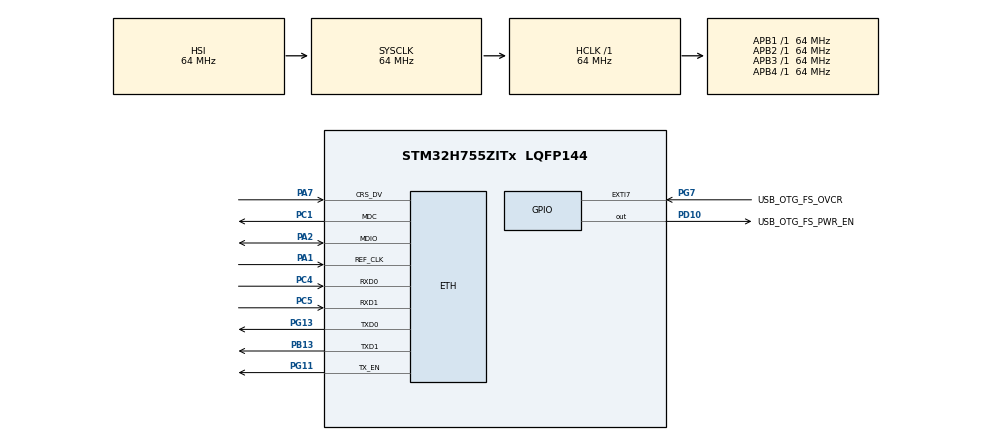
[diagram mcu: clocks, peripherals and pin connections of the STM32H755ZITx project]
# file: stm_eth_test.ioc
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CortexM4.IPs=FATFS_M4\:I,FREERTOS_M4\:I,IWDG2\:I,RCC,WWDG2\:I,DMA,BDMA,MDMA,NVIC2\:I,USART3,DEBUG,PDM2PCM_M4\:I,PWR,RESMGR_UTILITY,SYS_M4\:I,USB_DEVICE_M4\:I,USB_HOST_M4\:I,CORTEX_M4\:I,GPIO,OPENAMP_M4\:I,VREFBUF,NUCLEO-H755ZI-Q
CortexM7.IPs=FATFS_M7\:I,FREERTOS_M7\:I,IWDG1\:I,RCC\:I,WWDG1\:I,DMA\:I,BDMA\:I,MDMA\:I,NVIC1\:I,USART3\:I,USB_OTG_FS\:I,USB_OTG_FS1\:I,SYS\:I,CORTEX_M7\:I,DEBUG\:I,PDM2PCM_M7\:I,PWR\:I,RESMGR_UTILITY\:I,USB_DEVICE_M7\:I,USB_HOST_M7\:I,GPIO\:I,OPENAMP_M7\:I,VREFBUF\:I,NUCLEO-H755ZI-Q\:I,ETH\:I,LWIP\:I
ETH.MediaInterface=HAL_ETH_RMII_MODE
LWIP.BSP.number=1
LWIP.ETH_RX_BUFFER_CNT=8
LWIP.GATEWAY_ADDRESS=192.168.001.001
LWIP.IP_ADDRESS=192.168.001.050
LWIP.LWIP_DHCP=0
LWIP.LWIP_NETIF_STATUS_CALLBACK=1
LWIP.MEMP_NUM_RAW_PCB=8
LWIP.MEM_SIZE=20480
LWIP.NETMASK_ADDRESS=255.255.255.000
LWIP.PBUF_POOL_SIZE=32
LWIP.Version=v2.2.1_Cube
LWIP0.BSP.STBoard=false
LWIP0.BSP.api=BSP_COMPONENT_DRIVER
LWIP0.BSP.component=LAN8742
LWIP0.BSP.instance=LAN8742
LWIP0.BSP.name=Driver_PHY
LWIP0.BSP.semaphore=S_LAN8742
LWIP0.BSP.solution=LAN8742
Mcu.Family=STM32H7
Mcu.Name=STM32H755ZITx
Mcu.Package=LQFP144
NUCLEO-H755ZI-Q.BUTTON=1
NUCLEO-H755ZI-Q.LD1=true
NUCLEO-H755ZI-Q.LD2=true
NUCLEO-H755ZI-Q.LD3=true
NUCLEO-H755ZI-Q.VCP=true
NVIC1.ETH_IRQn=true\:0\:0\:false\:false\:true\:true\:true\:true
NVIC1.EXTI15_10_IRQn=true\:0\:0\:false\:false\:true\:false\:true\:true
NVIC1.PriorityGroup=NVIC_PRIORITYGROUP_4
NVIC2.PriorityGroup=NVIC_PRIORITYGROUP_4
PA1.Mode=RMII
PA1.PinAttribute=CortexM7
PA1.Signal=ETH_REF_CLK
PA11.PinAttribute=CortexM7
PA11.Signal=USB_OTG_FS_DM
PA12.PinAttribute=CortexM7
PA12.Signal=USB_OTG_FS_DP
PA2.Mode=RMII
PA2.PinAttribute=CortexM7
PA2.Signal=ETH_MDIO
PA7.Mode=RMII
PA7.PinAttribute=CortexM7
PA7.Signal=ETH_CRS_DV
PA8.PinAttribute=CortexM7
PA8.Signal=USB_OTG_FS_SOF
PA9.PinAttribute=CortexM7
PA9.Signal=USB_OTG_FS_VBUS
PB13.Mode=RMII
PB13.PinAttribute=CortexM7
PB13.Signal=ETH_TXD1
PC1.Mode=RMII
PC1.PinAttribute=CortexM7
PC1.Signal=ETH_MDC
PC14-OSC32_IN\ (OSC32_IN).PinAttribute=Free
PC14-OSC32_IN\ (OSC32_IN).Signal=RCC_OSC32_IN
PC15-OSC32_OUT\ (OSC32_OUT).PinAttribute=Free
PC15-OSC32_OUT\ (OSC32_OUT).Signal=RCC_OSC32_OUT
PC4.Mode=RMII
PC4.PinAttribute=CortexM7
PC4.Signal=ETH_RXD0
PC5.Mode=RMII
PC5.PinAttribute=CortexM7
PC5.Signal=ETH_RXD1
PD10.GPIO_Label=USB_OTG_FS_PWR_EN
PD10.PinAttribute=Free
PD10.Signal=GPIO_Output
PD8.Signal=USART3_TX
PD9.Signal=USART3_RX
PG11.Mode=RMII
PG11.PinAttribute=CortexM7
PG11.Signal=ETH_TX_EN
PG13.Mode=RMII
PG13.PinAttribute=CortexM7
PG13.Signal=ETH_TXD0
PG7.GPIO_Label=USB_OTG_FS_OVCR
PG7.PinAttribute=Free
PG7.Signal=GPXTI7
PH0-OSC_IN\ (PH0).PinAttribute=Free
PH0-OSC_IN\ (PH0).Signal=RCC_OSC_IN
PH1-OSC_OUT\ (PH1).PinAttribute=Free
PH1-OSC_OUT\ (PH1).Signal=RCC_OSC_OUT
ProjectManager.HeapSize=M4-0x200,M7-0x200
ProjectManager.StackSize=M4-0x400,M7-0x400
ProjectManager.TargetToolchain=STM32CubeIDE
RCC.ADCFreq_Value=129000000
RCC.APB1Freq_Value=64000000
RCC.APB2Freq_Value=64000000
RCC.APB3Freq_Value=64000000
RCC.APB4Freq_Value=64000000
RCC.CortexFreq_Value=64000000
RCC.DIVM1=5
RCC.DIVN1=48
RCC.DIVQ1=5
RCC.HCLKFreq_Value=64000000
RCC.PLL2FRACN=0
RCC.PLL3FRACN=0
RCC.PLLFRACN=0
RCC.SYSCLKFreq_VALUE=64000000
RCC.SupplySource=PWR_DIRECT_SMPS_SUPPLY
RCC.USBFreq_Value=122880000
VP_LWIP_VS_Enabled.Mode=Enabled
VP_NUCLEO-H755ZI-Q_VS_BSP_COMMON.Mode=COMMON
VP_SYS_M4_VS_Systick.Mode=SysTick
board=NUCLEO-H755ZI-Q

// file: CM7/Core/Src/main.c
/* USER CODE BEGIN Header */
/**
  ******************************************************************************
  * @file           : main.c
  * @brief          : Main program body
  ******************************************************************************
  * @attention
  *
  * Copyright (c) 2026 STMicroelectronics.
  * All rights reserved.
  *
  * This software is licensed under terms that can be found in the LICENSE file
  * in the root directory of this software component.
  * If no LICENSE file comes with this software, it is provided AS-IS.
  *
  ******************************************************************************
  */
/* USER CODE END Header */
#include "main.h"
#include "lwip.h"

/* USER CODE BEGIN Includes */
#include <stdio.h>
#include <string.h>
#include "lwip/netif.h"
#include "lwip/ip_addr.h"
/* USER CODE END Includes */

/* USER CODE BEGIN PD */

/* DUAL_CORE_BOOT_SYNC_SEQUENCE: Define for dual core boot synchronization    */
/*                             demonstration code based on hardware semaphore */
/* This define is present in both CM7/CM4 projects                            */
/* To comment when developping/debugging on a single core                     */
#define DUAL_CORE_BOOT_SYNC_SEQUENCE

#if defined(DUAL_CORE_BOOT_SYNC_SEQUENCE)
#ifndef HSEM_ID_0
#define HSEM_ID_0 (0U) /* HW semaphore 0*/
#endif
#endif /* DUAL_CORE_BOOT_SYNC_SEQUENCE */

/* USER CODE END PD */

COM_InitTypeDef BspCOMInit;

/* USER CODE BEGIN PV */
extern struct netif gnetif;
static uint32_t last_diag_ms = 0;
static uint8_t last_link_state = 0xFF;
/* USER CODE END PV */

void SystemClock_Config(void);
static void MX_GPIO_Init(void);
/* USER CODE BEGIN PFP */
static void APP_PrintNetworkStatus(void);
static void APP_PrintStartupBanner(void);
/* USER CODE END PFP */

int main(void)
{

#if defined(DUAL_CORE_BOOT_SYNC_SEQUENCE)
  int32_t timeout;
#endif /* DUAL_CORE_BOOT_SYNC_SEQUENCE */

  /* Wait until CPU2 boots and enters in stop mode or timeout */
#if defined(DUAL_CORE_BOOT_SYNC_SEQUENCE)
  timeout = 0xFFFF;
  while ((__HAL_RCC_GET_FLAG(RCC_FLAG_D2CKRDY) != RESET) && (timeout-- > 0));
  if (timeout < 0)
  {
    Error_Handler();
  }
#endif /* DUAL_CORE_BOOT_SYNC_SEQUENCE */

  /* MCU Configuration--------------------------------------------------------*/

  /* Reset of all peripherals, Initializes the Flash interface and the Systick. */
  HAL_Init();

  /* Configure the system clock */
  SystemClock_Config();

  /* When system initialization is finished, Cortex-M7 will release Cortex-M4 by means of
     HSEM notification */
#if defined(DUAL_CORE_BOOT_SYNC_SEQUENCE)
  __HAL_RCC_HSEM_CLK_ENABLE();
  HAL_HSEM_FastTake(HSEM_ID_0);
  HAL_HSEM_Release(HSEM_ID_0, 0);

  timeout = 0xFFFF;
  while ((__HAL_RCC_GET_FLAG(RCC_FLAG_D2CKRDY) == RESET) && (timeout-- > 0));
  if (timeout < 0)
  {
    Error_Handler();
  }
#endif /* DUAL_CORE_BOOT_SYNC_SEQUENCE */

  /* Initialize all configured peripherals */
  MX_GPIO_Init();

  /* Initialize leds */
  BSP_LED_Init(LED_GREEN);
  BSP_LED_Init(LED_YELLOW);
  BSP_LED_Init(LED_RED);

  /* Initialize USER push-button, will be used to trigger an interrupt each time it's pressed. */
  BSP_PB_Init(BUTTON_USER, BUTTON_MODE_EXTI);

  /* Initialize COM1 port (115200, 8 bits, 1 stop bit, no parity) */
  BspCOMInit.BaudRate   = 115200;
  BspCOMInit.WordLength = COM_WORDLENGTH_8B;
  BspCOMInit.StopBits   = COM_STOPBITS_1;
  BspCOMInit.Parity     = COM_PARITY_NONE;
  BspCOMInit.HwFlowCtl  = COM_HWCONTROL_NONE;
  if (BSP_COM_Init(COM1, &BspCOMInit) != BSP_ERROR_NONE)
  {
    Error_Handler();
  }

  /* USER CODE BEGIN 2 */
  APP_PrintStartupBanner();
  /* USER CODE END 2 */

  MX_LWIP_Init();
  APP_PrintNetworkStatus();

  /* Infinite loop */
  while (1)
  {
    MX_LWIP_Process();

    /* USER CODE BEGIN 3 */
    if ((HAL_GetTick() - last_diag_ms) >= 1000U)
    {
      last_diag_ms = HAL_GetTick();
      APP_PrintNetworkStatus();
    }
    /* USER CODE END 3 */
  }
}

void SystemClock_Config(void)
{
  RCC_OscInitTypeDef RCC_OscInitStruct = {0};
  RCC_ClkInitTypeDef RCC_ClkInitStruct = {0};

  /** Supply configuration update enable */
  HAL_PWREx_ConfigSupply(PWR_DIRECT_SMPS_SUPPLY);

  /** Configure the main internal regulator output voltage */
  __HAL_PWR_VOLTAGESCALING_CONFIG(PWR_REGULATOR_VOLTAGE_SCALE3);

  while (!__HAL_PWR_GET_FLAG(PWR_FLAG_VOSRDY)) {}

  /** Initializes the RCC Oscillators according to the specified parameters
  * in the RCC_OscInitTypeDef structure. */
  RCC_OscInitStruct.OscillatorType = RCC_OSCILLATORTYPE_HSI;
  RCC_OscInitStruct.HSIState = RCC_HSI_DIV1;
  RCC_OscInitStruct.HSICalibrationValue = RCC_HSICALIBRATION_DEFAULT;
  RCC_OscInitStruct.PLL.PLLState = RCC_PLL_NONE;
  if (HAL_RCC_OscConfig(&RCC_OscInitStruct) != HAL_OK)
  {
    Error_Handler();
  }

  /** Initializes the CPU, AHB and APB buses clocks */
  RCC_ClkInitStruct.ClockType = RCC_CLOCKTYPE_HCLK | RCC_CLOCKTYPE_SYSCLK
                              | RCC_CLOCKTYPE_PCLK1 | RCC_CLOCKTYPE_PCLK2
                              | RCC_CLOCKTYPE_D3PCLK1 | RCC_CLOCKTYPE_D1PCLK1;
  RCC_ClkInitStruct.SYSCLKSource = RCC_SYSCLKSOURCE_HSI;
  RCC_ClkInitStruct.SYSCLKDivider = RCC_SYSCLK_DIV1;
  RCC_ClkInitStruct.AHBCLKDivider = RCC_HCLK_DIV1;
  RCC_ClkInitStruct.APB3CLKDivider = RCC_APB3_DIV1;
  RCC_ClkInitStruct.APB1CLKDivider = RCC_APB1_DIV1;
  RCC_ClkInitStruct.APB2CLKDivider = RCC_APB2_DIV1;
  RCC_ClkInitStruct.APB4CLKDivider = RCC_APB4_DIV1;

  if (HAL_RCC_ClockConfig(&RCC_ClkInitStruct, FLASH_LATENCY_1) != HAL_OK)
  {
    Error_Handler();
  }
}

static void MX_GPIO_Init(void)
{
  GPIO_InitTypeDef GPIO_InitStruct = {0};

  /* GPIO Ports Clock Enable */
  __HAL_RCC_GPIOC_CLK_ENABLE();
  __HAL_RCC_GPIOA_CLK_ENABLE();
  __HAL_RCC_GPIOB_CLK_ENABLE();
  __HAL_RCC_GPIOG_CLK_ENABLE();

  /* Configure GPIO pins : PA8 PA11 PA12 */
  GPIO_InitStruct.Pin = GPIO_PIN_8 | GPIO_PIN_11 | GPIO_PIN_12;
  GPIO_InitStruct.Mode = GPIO_MODE_AF_PP;
  GPIO_InitStruct.Pull = GPIO_NOPULL;
  GPIO_InitStruct.Speed = GPIO_SPEED_FREQ_LOW;
  GPIO_InitStruct.Alternate = GPIO_AF10_OTG1_FS;
  HAL_GPIO_Init(GPIOA, &GPIO_InitStruct);
}

/* USER CODE BEGIN 4 */
int __io_putchar(int ch)
{
  uint8_t c = (uint8_t)ch;
  (void)HAL_UART_Transmit(&hcom_uart[COM1], &c, 1U, 100U);
  return ch;
}

static void APP_PrintStartupBanner(void)
{
  printf("\r\n========================================\r\n");
  printf(" STM32H755 Ethernet Test - LwIP NO_SYS\r\n");
  printf(" Board : NUCLEO-H755ZI-Q\r\n");
  printf(" PHY   : LAN8742 / RMII\r\n");
  printf(" UART  : COM1 115200 8N1\r\n");
  printf("========================================\r\n");
}

static void APP_PrintNetworkStatus(void)
{
  uint8_t link_now = netif_is_link_up(&gnetif) ? 1U : 0U;

  if (link_now != last_link_state)
  {
    last_link_state = link_now;
    printf("LINK DEGISTI -> %s\r\n", link_now ? "UP" : "DOWN");
  }

  printf("NETIF: %s | LINK: %s | IP: %s\r\n",
         netif_is_up(&gnetif) ? "UP" : "DOWN",
         link_now ? "UP" : "DOWN",
         ip4addr_ntoa(netif_ip4_addr(&gnetif)));
}
/* USER CODE END 4 */

void Error_Handler(void)
{
  __disable_irq();
  while (1)
  {
  }
}
